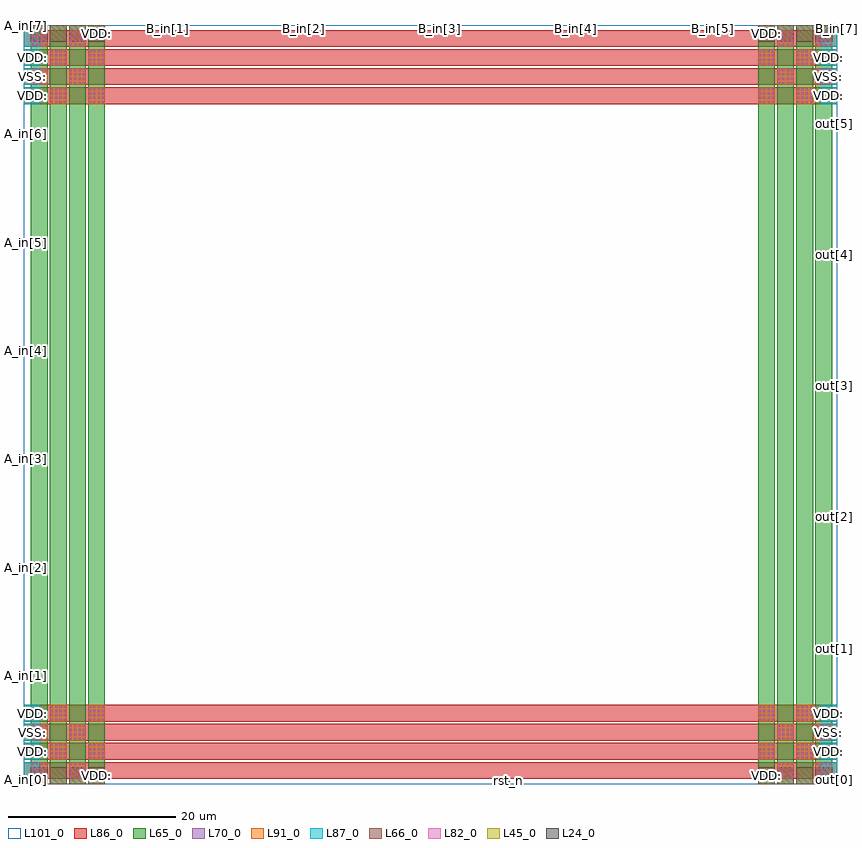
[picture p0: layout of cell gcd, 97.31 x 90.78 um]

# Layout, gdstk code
import gdstk
lib = gdstk.Library(unit=1e-6, precision=5e-10)
def R(c, l, rs):  # rectangles x0, y0, x1, y1
    for r in rs: c.add(gdstk.rectangle(r[:2], r[2:], *l))
def A(c, l, x, y, w, h, nx, ny, dx, dy):  # array of equal rectangles
    R(c, l, [(x+i*dx, y+j*dy, x+i*dx+w, y+j*dy+h) for i in range(nx) for j in range(ny)])
L24_0 = (24, 0)
L45_0 = (45, 0)
L65_0 = (65, 0)
L66_0 = (66, 0)
L70_0 = (70, 0)
L82_0 = (82, 0)
L86_0 = (86, 0)
L87_0 = (87, 0)
L91_0 = (91, 0)
L101_0 = (101, 0)

gcd_via0 = lib.new_cell('gcd_VIA0')
R(gcd_via0, L70_0, [(-1,-1,1,1)])
A(gcd_via0, L82_0, -0.91, -0.91, 0.26, 0.26, 4, 4, 0.52, 0.52)
R(gcd_via0, L91_0, [(-1,-1,1,1)])

gcd = lib.new_cell('gcd')
A(gcd, L24_0, 0.85, 89.91, 0.28, 0.73, 4, 1, 16.275, 0)
R(gcd, L24_0, [(0.85,0,1.13,0.73), (57.81,0,58.09,0.73), (97.03,0,97.31,0.73), (65.945,89.91,66.225,90.64), (82.215,89.91,82.495,90.64), (97.03,89.91,97.31,90.64), (97.03,89.91,97.31,90.64)])
A(gcd, L45_0, 96.44, 0.42, 0.73, 0.28, 1, 4, 0, 15.67)
A(gcd, L45_0, 0, 25.755, 0.73, 0.28, 1, 3, 0, 12.95)
A(gcd, L45_0, 0, 64.6, 0.73, 0.28, 1, 3, 0, 12.95)
R(gcd, L45_0, [(0,0.42,0.73,0.7), (0,12.81,0.73,13.09), (96.44,63.095,97.17,63.375), (96.44,78.76,97.17,79.04), (96.44,90.5,97.17,90.78), (96.44,90.5,97.17,90.78)])
A(gcd, L65_0, 0.86, 0, 2, 90.64, 4, 1, 2.28, 0)
A(gcd, L65_0, 87.725, 0, 2, 90.64, 4, 1, 2.28, 0)
A(gcd, L66_0, 0.86, 0, 2, 2, 4, 2, 2.28, 88.64)
A(gcd, L66_0, 87.725, 0, 2, 2, 4, 2, 2.28, 88.64)
A(gcd, L86_0, 0, 0.62, 97.17, 2, 1, 4, 0, 2.28)
A(gcd, L86_0, 0, 81.22, 97.17, 2, 1, 4, 0, 2.28)
A(gcd, L87_0, 0, 0.62, 2, 2, 1, 4, 0, 2.28)
A(gcd, L87_0, 95.17, 0.62, 2, 2, 1, 4, 0, 2.28)
A(gcd, L87_0, 0, 81.22, 2, 2, 1, 4, 0, 2.28)
A(gcd, L87_0, 95.17, 81.22, 2, 2, 1, 4, 0, 2.28)
R(gcd, L101_0, [(0,0,97.17,90.64)])
gcd.add(gdstk.Reference(gcd_via0, (1.86,1.62)))
gcd.add(gdstk.Reference(gcd_via0, (1.86,6.18)))
gcd.add(gdstk.Reference(gcd_via0, (6.42,1.62)))
gcd.add(gdstk.Reference(gcd_via0, (6.42,6.18)))
gcd.add(gdstk.Reference(gcd_via0, (1.86,84.5)))
gcd.add(gdstk.Reference(gcd_via0, (1.86,89.06)))
gcd.add(gdstk.Reference(gcd_via0, (6.42,84.5)))
gcd.add(gdstk.Reference(gcd_via0, (6.42,89.06)))
gcd.add(gdstk.Reference(gcd_via0, (91.005,1.62)))
gcd.add(gdstk.Reference(gcd_via0, (91.005,6.18)))
gcd.add(gdstk.Reference(gcd_via0, (95.565,1.62)))
gcd.add(gdstk.Reference(gcd_via0, (95.565,6.18)))
gcd.add(gdstk.Reference(gcd_via0, (91.005,84.5)))
gcd.add(gdstk.Reference(gcd_via0, (91.005,89.06)))
gcd.add(gdstk.Reference(gcd_via0, (95.565,84.5)))
gcd.add(gdstk.Reference(gcd_via0, (95.565,89.06)))
gcd.add(gdstk.Reference(gcd_via0, (4.14,3.9)))
gcd.add(gdstk.Reference(gcd_via0, (4.14,8.46)))
gcd.add(gdstk.Reference(gcd_via0, (8.7,3.9)))
gcd.add(gdstk.Reference(gcd_via0, (8.7,8.46)))
gcd.add(gdstk.Reference(gcd_via0, (4.14,82.22)))
gcd.add(gdstk.Reference(gcd_via0, (4.14,86.78)))
gcd.add(gdstk.Reference(gcd_via0, (8.7,82.22)))
gcd.add(gdstk.Reference(gcd_via0, (8.7,86.78)))
gcd.add(gdstk.Reference(gcd_via0, (88.725,3.9)))
gcd.add(gdstk.Reference(gcd_via0, (88.725,8.46)))
gcd.add(gdstk.Reference(gcd_via0, (93.285,3.9)))
gcd.add(gdstk.Reference(gcd_via0, (93.285,8.46)))
gcd.add(gdstk.Reference(gcd_via0, (88.725,82.22)))
gcd.add(gdstk.Reference(gcd_via0, (88.725,86.78)))
gcd.add(gdstk.Reference(gcd_via0, (93.285,82.22)))
gcd.add(gdstk.Reference(gcd_via0, (93.285,86.78)))
gcd.add(gdstk.Label('A_in[7]', (0.365,90.64), layer=55, texttype=0))
gcd.add(gdstk.Label('A_in[6]', (0.365,77.69), layer=55, texttype=0))
gcd.add(gdstk.Label('A_in[5]', (0.365,64.74), layer=55, texttype=0))
gcd.add(gdstk.Label('A_in[4]', (0.365,51.795), layer=55, texttype=0))
gcd.add(gdstk.Label('A_in[3]', (0.365,38.845), layer=55, texttype=0))
gcd.add(gdstk.Label('A_in[2]', (0.365,25.895), layer=55, texttype=0))
gcd.add(gdstk.Label('A_in[1]', (0.365,12.95), layer=55, texttype=0))
gcd.add(gdstk.Label('A_in[0]', (0.365,0.56), layer=55, texttype=0))
gcd.add(gdstk.Label('B_in[7]', (97.17,90.275), layer=34, texttype=0))
gcd.add(gdstk.Label('B_in[6]', (97.17,90.275), layer=34, texttype=0))
gcd.add(gdstk.Label('B_in[5]', (82.355,90.275), layer=34, texttype=0))
gcd.add(gdstk.Label('B_in[4]', (66.085,90.275), layer=34, texttype=0))
gcd.add(gdstk.Label('B_in[3]', (49.815,90.275), layer=34, texttype=0))
gcd.add(gdstk.Label('B_in[2]', (33.54,90.275), layer=34, texttype=0))
gcd.add(gdstk.Label('B_in[1]', (17.265,90.275), layer=34, texttype=0))
gcd.add(gdstk.Label('B_in[0]', (0.99,90.275), layer=34, texttype=0))
gcd.add(gdstk.Label('clk', (0.99,0.365), layer=34, texttype=0))
gcd.add(gdstk.Label('rst_n', (57.95,0.365), layer=34, texttype=0))
gcd.add(gdstk.Label('out[7]', (96.805,90.64), layer=55, texttype=0))
gcd.add(gdstk.Label('out[6]', (96.805,90.64), layer=55, texttype=0))
gcd.add(gdstk.Label('out[5]', (96.805,78.9), layer=55, texttype=0))
gcd.add(gdstk.Label('out[4]', (96.805,63.235), layer=55, texttype=0))
gcd.add(gdstk.Label('out[3]', (96.805,47.57), layer=55, texttype=0))
gcd.add(gdstk.Label('out[2]', (96.805,31.9), layer=55, texttype=0))
gcd.add(gdstk.Label('out[1]', (96.805,16.23), layer=55, texttype=0))
gcd.add(gdstk.Label('out[0]', (96.805,0.56), layer=55, texttype=0))
gcd.add(gdstk.Label('done', (97.17,0.365), layer=34, texttype=0))
gcd.add(gdstk.Label('VDD:', (96.17,86.78), layer=97, texttype=0))
gcd.add(gdstk.Label('VDD:', (1,86.78), layer=97, texttype=0))
gcd.add(gdstk.Label('VDD:', (96.17,3.9), layer=97, texttype=0))
gcd.add(gdstk.Label('VDD:', (1,3.9), layer=97, texttype=0))
gcd.add(gdstk.Label('VDD:', (93.285,89.64), layer=76, texttype=0))
gcd.add(gdstk.Label('VDD:', (93.285,1), layer=76, texttype=0))
gcd.add(gdstk.Label('VDD:', (4.14,89.64), layer=76, texttype=0))
gcd.add(gdstk.Label('VDD:', (4.14,1), layer=76, texttype=0))
gcd.add(gdstk.Label('VDD:', (96.17,82.22), layer=97, texttype=0))
gcd.add(gdstk.Label('VDD:', (1,82.22), layer=97, texttype=0))
gcd.add(gdstk.Label('VDD:', (96.17,8.46), layer=97, texttype=0))
gcd.add(gdstk.Label('VDD:', (1,8.46), layer=97, texttype=0))
gcd.add(gdstk.Label('VDD:', (88.725,89.64), layer=76, texttype=0))
gcd.add(gdstk.Label('VDD:', (88.725,1), layer=76, texttype=0))
gcd.add(gdstk.Label('VDD:', (8.7,89.64), layer=76, texttype=0))
gcd.add(gdstk.Label('VDD:', (8.7,1), layer=76, texttype=0))
gcd.add(gdstk.Label('VSS:', (96.17,89.06), layer=97, texttype=0))
gcd.add(gdstk.Label('VSS:', (1,89.06), layer=97, texttype=0))
gcd.add(gdstk.Label('VSS:', (96.17,1.62), layer=97, texttype=0))
gcd.add(gdstk.Label('VSS:', (1,1.62), layer=97, texttype=0))
gcd.add(gdstk.Label('VSS:', (95.565,89.64), layer=76, texttype=0))
gcd.add(gdstk.Label('VSS:', (95.565,1), layer=76, texttype=0))
gcd.add(gdstk.Label('VSS:', (1.86,89.64), layer=76, texttype=0))
gcd.add(gdstk.Label('VSS:', (1.86,1), layer=76, texttype=0))
gcd.add(gdstk.Label('VSS:', (96.17,84.5), layer=97, texttype=0))
gcd.add(gdstk.Label('VSS:', (1,84.5), layer=97, texttype=0))
gcd.add(gdstk.Label('VSS:', (96.17,6.18), layer=97, texttype=0))
gcd.add(gdstk.Label('VSS:', (1,6.18), layer=97, texttype=0))
gcd.add(gdstk.Label('VSS:', (91.005,89.64), layer=76, texttype=0))
gcd.add(gdstk.Label('VSS:', (91.005,1), layer=76, texttype=0))
gcd.add(gdstk.Label('VSS:', (6.42,89.64), layer=76, texttype=0))
gcd.add(gdstk.Label('VSS:', (6.42,1), layer=76, texttype=0))
gcd.add(gdstk.Label('VSS', (0.86,0), layer=75, texttype=0))
gcd.add(gdstk.Label('VDD', (3.14,0), layer=75, texttype=0))

lib.write_gds('gcd.gds')
